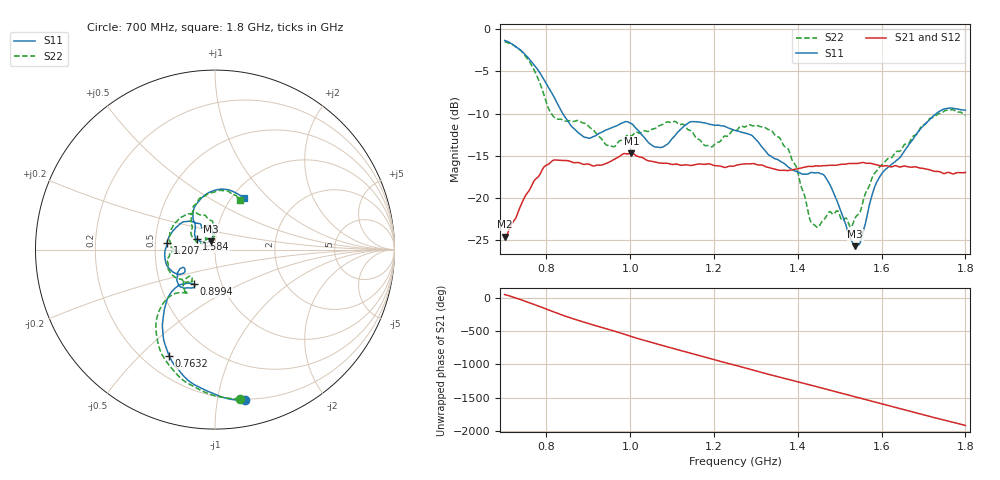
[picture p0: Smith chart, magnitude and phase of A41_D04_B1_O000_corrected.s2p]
! Created with skrf 1.9.0 (http://scikit-rf.org).
# Hz S RI R 50.0
!freq ReS11 ImS11 ReS21 ImS21 ReS12 ImS12 ReS22 ImS22
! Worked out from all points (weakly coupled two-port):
!   1601 points, 700 MHz to 1.8 GHz, reference 50 ohm
!   highest |S21| = -14.68 dB at 1.002 GHz (marker M1); lowest = -24.6 dB at 700 MHz (marker M2)
!   lowest |S11| = -25.7 dB at 1.537 GHz (marker M3), VSWR 1.11, Z = 47.6 + j4.47 ohm
!   |S11| at or under -10 dB: 838.8 MHz to 1.73 GHz (891.2 MHz wide, 69.4 % of centre)
!   |S22| runs from -23.5 to -1.5 dB; largest |S21 - S12| = 0.0034
!   S11 on the Smith chart (normalised r, x): 700 MHz: 0.19, -1.20; 763.2 MHz: 0.30, -0.61; 899.4 MHz: 0.74, -0.30; 1.207 GHz: 0.58, +0.04; 1.584 GHz: 0.81, +0.09; 1.8 GHz: 1.13, +0.74
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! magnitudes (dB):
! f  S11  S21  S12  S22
! 700 MHz  -1.3  -24.6  -24.3  -1.5
! 763.2 MHz  -3.8  -18.7  -18.7  -4.2
! 816.9 MHz  -7.9  -15.5  -15.6  -10.3
! 883.6 MHz  -12.5  -15.9  -15.8  -11.0
! 899.4 MHz  -12.9  -16.0  -16.0  -11.4
! 955.8 MHz  -11.7  -15.6  -15.6  -13.9
! 1.002 GHz  -11.2  -14.7  -14.8  -12.6
! 1.067 GHz  -14.0  -15.8  -15.8  -11.5
! 1.143 GHz  -11.0  -16.1  -16.1  -12.0
! 1.207 GHz  -11.4  -16.2  -16.2  -13.4
! 1.25 GHz  -12.0  -16.2  -16.1  -12.0
! 1.303 GHz  -13.2  -16.0  -15.9  -11.4
! 1.357 GHz  -15.6  -16.7  -16.6  -12.9
! 1.396 GHz  -16.8  -16.6  -16.5  -16.2
! 1.434 GHz  -17.0  -16.3  -16.2  -23.0
! 1.471 GHz  -17.9  -16.1  -16.1  -21.9
! 1.537 GHz  -25.7  -15.9  -15.9  -22.4
! 1.55 GHz  -25.0  -15.8  -15.8  -21.4
! 1.584 GHz  -18.6  -16.0  -16.0  -17.0
! 1.617 GHz  -16.3  -16.2  -16.2  -15.3
! 1.731 GHz  -10.0  -16.8  -16.8  -10.2
! 1.8 GHz  -9.6  -17.0  -16.9  -10.2
